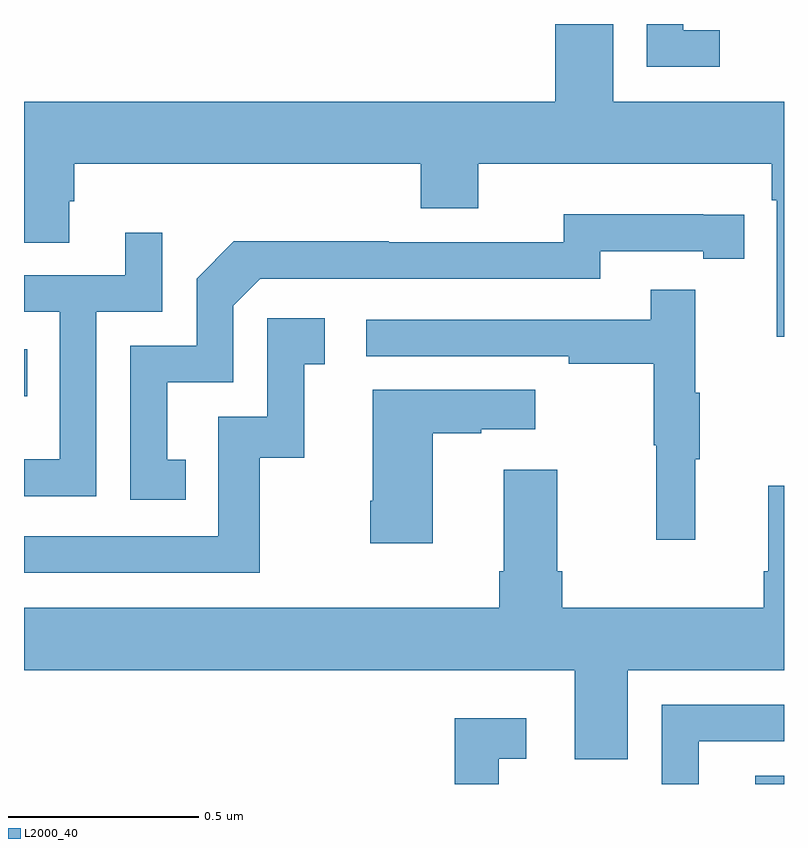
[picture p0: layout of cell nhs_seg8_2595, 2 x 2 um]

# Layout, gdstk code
import gdstk
lib = gdstk.Library(unit=1e-6, precision=1e-09)
def R(c, l, rs):  # rectangles x0, y0, x1, y1
    for r in rs: c.add(gdstk.rectangle(r[:2], r[2:], *l))
def P(c, l, *ps):  # polygons
    for p in ps: c.add(gdstk.Polygon(p, *l))
L2000_40 = (2000, 40)

nhs_seg8_2595 = lib.new_cell('nhs_seg8_2595')
R(nhs_seg8_2595, L2000_40, [(147.924,1082.9,148,1082.922), (146,1083.921,146.009,1084.044)])
P(nhs_seg8_2595, L2000_40, [(148,1084.696),(147.55,1084.696),(147.55,1084.9),(147.398,1084.9),(147.398,1084.696),(146,1084.696),(146,1084.324),(146.119,1084.324),(146.119,1084.434),(146.132,1084.434),(146.132,1084.532),(147.044,1084.532),(147.044,1084.415),(147.196,1084.415),(147.196,1084.532),(147.968,1084.532),(147.968,1084.436),(147.981,1084.436),(147.981,1084.077),(148,1084.077)],
  [(147.831,1084.883),(147.735,1084.883),(147.735,1084.9),(147.639,1084.9),(147.639,1084.788),(147.831,1084.788)],
  [(146.426,1083.753),(146.377,1083.753),(146.377,1083.957),(146.55,1083.957),(146.55,1084.158),(146.622,1084.23),(147.516,1084.23),(147.516,1084.302),(147.788,1084.302),(147.788,1084.282),(147.896,1084.282),(147.896,1084.398),(147.788,1084.398),(147.788,1084.399),(147.42,1084.399),(147.42,1084.326),(146.96,1084.326),(146.96,1084.328),(146.552,1084.328),(146.454,1084.23),(146.454,1084.053),(146.28,1084.053),(146.28,1083.648),(146.426,1083.648)],
  [(146.19,1084.143),(146.364,1084.143),(146.364,1084.351),(146.267,1084.351),(146.267,1084.239),(146,1084.239),(146,1084.143),(146.094,1084.143),(146.094,1083.754),(146,1083.754),(146,1083.657),(146.19,1083.657)],
  [(147.767,1083.755),(147.778,1083.755),(147.778,1083.929),(147.767,1083.929),(147.767,1084.201),(147.649,1084.201),(147.649,1084.122),(146.901,1084.122),(146.901,1084.026),(147.433,1084.026),(147.433,1084.006),(147.657,1084.006),(147.657,1083.792),(147.664,1083.792),(147.664,1083.543),(147.767,1083.543)],
  [(146.62,1083.759),(146.738,1083.759),(146.738,1084.005),(146.791,1084.005),(146.791,1084.126),(146.64,1084.126),(146.64,1083.867),(146.511,1083.867),(146.511,1083.552),(146,1083.552),(146,1083.456),(146.62,1083.456)],
  [(147.076,1083.823),(147.203,1083.823),(147.203,1083.833),(147.346,1083.833),(147.346,1083.937),(146.918,1083.937),(146.918,1083.646),(146.911,1083.646),(146.911,1083.534),(147.076,1083.534)],
  [(147.589,1083.2),(148,1083.2),(148,1083.685),(147.959,1083.685),(147.959,1083.46),(147.947,1083.46),(147.947,1083.364),(147.416,1083.364),(147.416,1083.46),(147.403,1083.46),(147.403,1083.727),(147.263,1083.727),(147.263,1083.46),(147.251,1083.46),(147.251,1083.364),(146,1083.364),(146,1083.2),(147.449,1083.2),(147.449,1082.965),(147.589,1082.965)],
  [(147.775,1083.012),(148,1083.012),(148,1083.108),(147.678,1083.108),(147.678,1082.9),(147.775,1082.9)],
  [(147.249,1082.967),(147.322,1082.967),(147.322,1083.073),(147.133,1083.073),(147.133,1082.9),(147.249,1082.9)])

lib.write_gds('nhs_seg8_2595.gds')
